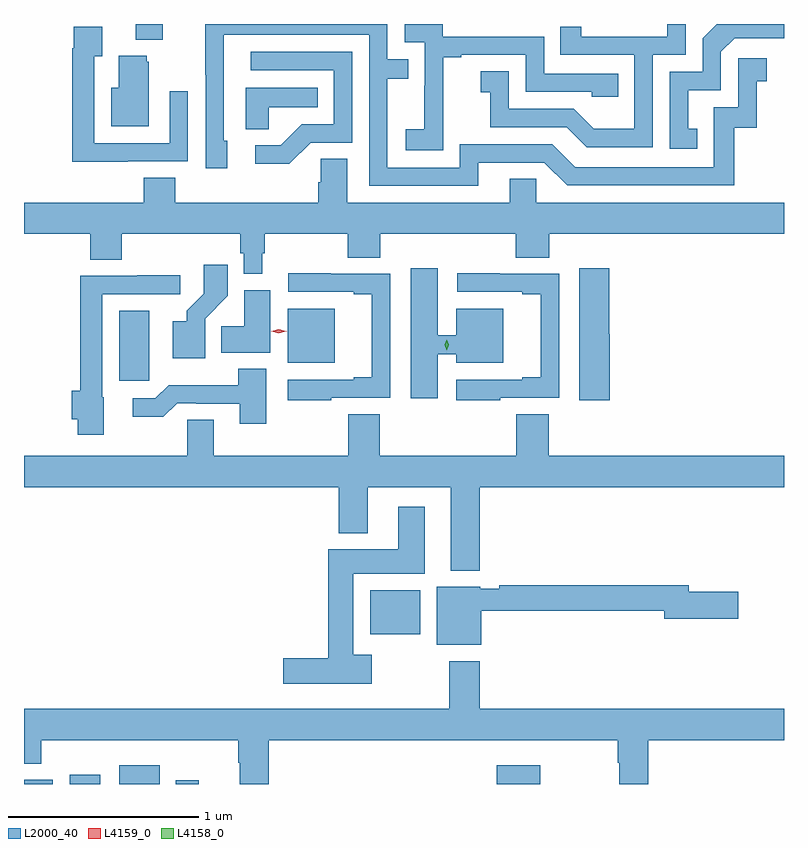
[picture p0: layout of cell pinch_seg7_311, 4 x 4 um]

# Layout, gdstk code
import gdstk
lib = gdstk.Library(unit=1e-6, precision=1e-09)
def R(c, l, rs):  # rectangles x0, y0, x1, y1
    for r in rs: c.add(gdstk.rectangle(r[:2], r[2:], *l))
def P(c, l, *ps):  # polygons
    for p in ps: c.add(gdstk.Polygon(p, *l))
L2000_40 = (2000, 40)
L4158_0 = (4158, 0)
L4159_0 = (4159, 0)

pinch_seg7_311 = lib.new_cell('pinch_seg7_311')
R(pinch_seg7_311, L2000_40, [(455.014,1040.345,455.166,1040.367), (455.255,1040.345,455.416,1040.395), (455.516,1040.345,455.728,1040.443), (455.813,1040.345,455.935,1040.365), (457.502,1040.345,457.732,1040.443), (456.836,1041.134,457.099,1041.364), (455.516,1042.467,455.674,1042.837), (456.401,1042.562,456.649,1042.846), (455.603,1044.263,455.743,1044.345)])
P(pinch_seg7_311, L2000_40, [(457.405,1043.616),(457.752,1043.616),(457.872,1043.496),(458.752,1043.496),(458.752,1043.799),(458.87,1043.799),(458.87,1044.045),(458.923,1044.045),(458.923,1044.166),(458.772,1044.166),(458.772,1043.907),(458.643,1043.907),(458.643,1043.592),(457.914,1043.592),(457.794,1043.712),(457.308,1043.712),(457.308,1043.589),(456.927,1043.589),(456.927,1044.058),(457.037,1044.058),(457.037,1044.159),(456.927,1044.159),(456.927,1044.345),(455.968,1044.345),(455.968,1044.079),(455.97,1044.079),(455.97,1043.586),(456.085,1043.586),(456.085,1043.73),(456.066,1043.73),(456.066,1044.288),(456.831,1044.288),(456.831,1043.493),(457.405,1043.493)],
  [(458.558,1043.793),(458.509,1043.793),(458.509,1043.997),(458.682,1043.997),(458.682,1044.198),(458.754,1044.27),(459.014,1044.27),(459.014,1044.345),(458.661,1044.345),(458.586,1044.27),(458.586,1044.093),(458.412,1044.093),(458.412,1043.688),(458.558,1043.688)],
  [(458.322,1044.183),(458.496,1044.183),(458.496,1044.345),(458.399,1044.345),(458.399,1044.279),(457.948,1044.279),(457.948,1044.331),(457.837,1044.331),(457.837,1044.183),(458.226,1044.183),(458.226,1043.794),(458.012,1043.794),(457.908,1043.898),(457.566,1043.898),(457.566,1044.097),(457.419,1044.097),(457.419,1043.987),(457.468,1043.987),(457.468,1043.802),(457.871,1043.802),(457.976,1043.697),(458.322,1043.697)],
  [(457.221,1043.887),(457.22,1043.887),(457.22,1044.171),(457.315,1044.171),(457.315,1044.183),(457.656,1044.183),(457.656,1043.988),(458.001,1043.988),(458.001,1043.961),(458.141,1043.961),(458.141,1044.084),(457.752,1044.084),(457.752,1044.279),(457.218,1044.279),(457.218,1044.345),(457.017,1044.345),(457.017,1044.249),(457.122,1044.249),(457.122,1044.02),(457.121,1044.02),(457.121,1043.791),(457.023,1043.791),(457.023,1043.681),(457.221,1043.681)],
  [(455.561,1043.622),(455.877,1043.622),(455.877,1043.992),(455.781,1043.992),(455.781,1043.718),(455.385,1043.718),(455.385,1044.175),(455.425,1044.175),(455.425,1044.331),(455.277,1044.331),(455.277,1044.218),(455.269,1044.218),(455.269,1043.621),(455.561,1043.621)],
  [(456.522,1043.721),(456.741,1043.721),(456.741,1044.198),(456.207,1044.198),(456.207,1044.102),(456.645,1044.102),(456.645,1043.817),(456.476,1043.817),(456.365,1043.706),(456.231,1043.706),(456.231,1043.609),(456.409,1043.609)],
  [(455.671,1044.147),(455.66,1044.147),(455.66,1044.178),(455.513,1044.178),(455.513,1044.01),(455.474,1044.01),(455.474,1043.807),(455.671,1043.807)],
  [(456.303,1043.906),(456.56,1043.906),(456.56,1044.01),(456.182,1044.01),(456.182,1043.791),(456.303,1043.791)],
  [(455.81,1043.537),(455.645,1043.537),(455.645,1043.404),(455.014,1043.404),(455.014,1043.24),(455.363,1043.24),(455.363,1043.104),(455.528,1043.104),(455.528,1043.24),(456.151,1043.24),(456.151,1043.139),(456.171,1043.139),(456.171,1043.03),(456.268,1043.03),(456.268,1043.139),(456.28,1043.139),(456.28,1043.24),(456.718,1043.24),(456.718,1043.116),(456.89,1043.116),(456.89,1043.24),(457.601,1043.24),(457.601,1043.116),(457.778,1043.116),(457.778,1043.24),(459.014,1043.24),(459.014,1043.404),(457.71,1043.404),(457.71,1043.531),(457.571,1043.531),(457.571,1043.404),(456.715,1043.404),(456.715,1043.636),(456.576,1043.636),(456.576,1043.513),(456.563,1043.513),(456.563,1043.404),(455.81,1043.404)],
  [(455.967,1042.795),(456.086,1042.914),(456.086,1043.077),(455.961,1043.077),(455.961,1042.925),(455.87,1042.835),(455.87,1042.78),(455.798,1042.78),(455.798,1042.587),(455.967,1042.587)],
  [(457.192,1042.607),(457.289,1042.607),(457.289,1042.562),(457.537,1042.562),(457.537,1042.846),(457.289,1042.846),(457.289,1042.707),(457.192,1042.707),(457.192,1043.059),(457.049,1043.059),(457.049,1042.374),(457.192,1042.374)],
  [(458.098,1042.713),(458.093,1042.713),(458.093,1043.059),(457.937,1043.059),(457.937,1042.365),(458.098,1042.365)],
  [(456.632,1042.377),(456.942,1042.377),(456.942,1043.031),(456.629,1043.031),(456.629,1043.033),(456.405,1043.033),(456.405,1042.935),(456.749,1042.935),(456.749,1042.923),(456.845,1042.923),(456.845,1042.486),(456.749,1042.486),(456.749,1042.473),(456.402,1042.473),(456.402,1042.365),(456.632,1042.365)],
  [(457.52,1042.377),(457.83,1042.377),(457.83,1043.031),(457.517,1043.031),(457.517,1043.033),(457.293,1043.033),(457.293,1042.935),(457.637,1042.935),(457.637,1042.923),(457.733,1042.923),(457.733,1042.486),(457.637,1042.486),(457.637,1042.473),(457.29,1042.473),(457.29,1042.365),(457.52,1042.365)],
  [(455.434,1042.38),(455.427,1042.38),(455.427,1042.923),(455.836,1042.923),(455.836,1043.022),(455.611,1043.022),(455.611,1043.019),(455.311,1043.019),(455.311,1042.415),(455.264,1042.415),(455.264,1042.266),(455.298,1042.266),(455.298,1042.184),(455.434,1042.184)],
  [(456.31,1042.945),(456.173,1042.945),(456.173,1042.754),(456.052,1042.754),(456.052,1042.616),(456.31,1042.616)],
  [(456.289,1042.531),(456.142,1042.531),(456.142,1042.445),(455.777,1042.445),(455.706,1042.374),(455.586,1042.374),(455.586,1042.277),(455.747,1042.277),(455.82,1042.35),(455.92,1042.35),(455.92,1042.347),(456.149,1042.347),(456.149,1042.242),(456.289,1042.242)],
  [(457.412,1041.908),(459.014,1041.908),(459.014,1042.072),(457.775,1042.072),(457.775,1042.292),(457.604,1042.292),(457.604,1042.072),(456.887,1042.072),(456.887,1042.292),(456.721,1042.292),(456.721,1042.072),(456.013,1042.072),(456.013,1042.262),(455.874,1042.262),(455.874,1042.072),(455.014,1042.072),(455.014,1041.908),(456.671,1041.908),(456.671,1041.665),(456.823,1041.665),(456.823,1041.908),(457.259,1041.908),(457.259,1041.467),(457.412,1041.467)],
  [(456.844,1041.025),(456.748,1041.025),(456.748,1041.452),(457.123,1041.452),(457.123,1041.805),(456.983,1041.805),(456.983,1041.58),(456.614,1041.58),(456.614,1041.007),(456.378,1041.007),(456.378,1040.873),(456.844,1040.873)],
  [(457.42,1041.256),(458.384,1041.256),(458.384,1041.214),(458.773,1041.214),(458.773,1041.356),(458.512,1041.356),(458.512,1041.392),(457.516,1041.392),(457.516,1041.372),(457.416,1041.372),(457.416,1041.382),(457.187,1041.382),(457.187,1041.077),(457.42,1041.077)],
  [(456.302,1040.576),(458.14,1040.576),(458.14,1040.456),(458.147,1040.456),(458.147,1040.345),(458.3,1040.345),(458.3,1040.576),(459.014,1040.576),(459.014,1040.74),(457.412,1040.74),(457.412,1040.992),(457.252,1040.992),(457.252,1040.74),(455.014,1040.74),(455.014,1040.452),(455.106,1040.452),(455.106,1040.576),(456.142,1040.576),(456.142,1040.456),(456.149,1040.456),(456.149,1040.345),(456.302,1040.345)])
P(pinch_seg7_311, L4158_0, [(457.239,1042.629),(457.239,1042.629),(457.229,1042.656),(457.239,1042.683),(457.239,1042.683),(457.239,1042.683),(457.249,1042.656),(457.239,1042.629)])
P(pinch_seg7_311, L4159_0, [(456.355,1042.718),(456.314,1042.728),(456.314,1042.728),(456.314,1042.729),(456.355,1042.738),(456.395,1042.729),(456.396,1042.728),(456.395,1042.728)])

lib.write_gds('pinch_seg7_311.gds')
